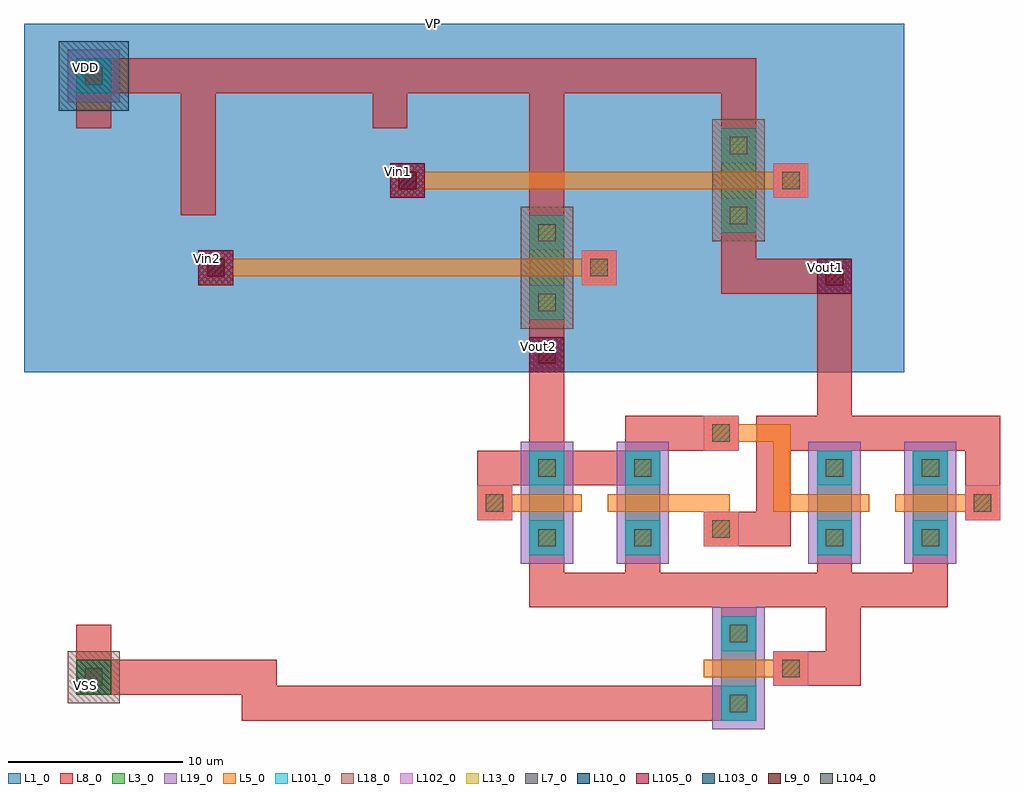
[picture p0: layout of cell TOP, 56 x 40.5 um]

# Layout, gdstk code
from math import pi, radians
import gdstk
lib = gdstk.Library(unit=1e-6, precision=1e-09)
def R(c, l, rs):  # rectangles x0, y0, x1, y1
    for r in rs: c.add(gdstk.rectangle(r[:2], r[2:], *l))
L1_0 = (1, 0)
L3_0 = (3, 0)
L5_0 = (5, 0)
L7_0 = (7, 0)
L8_0 = (8, 0)
L9_0 = (9, 0)
L10_0 = (10, 0)
L13_0 = (13, 0)
L18_0 = (18, 0)
L19_0 = (19, 0)
L101_0 = (101, 0)
L102_0 = (102, 0)
L103_0 = (103, 0)
L104_0 = (104, 0)
L105_0 = (105, 0)

pcont = lib.new_cell('pcont')
R(pcont, L5_0, [(-1,-1,1,1)])
R(pcont, L7_0, [(-0.5,-0.5,0.5,0.5)])
R(pcont, L8_0, [(-1,-1,1,1)])
R(pcont, L13_0, [(-0.5,-0.5,0.5,0.5)])
R(pcont, L102_0, [(-1,-1,1,1)])
pcont.add(gdstk.Label('pcont', (0,0), layer=13, texttype=0))

via = lib.new_cell('Via')
R(via, L8_0, [(-1,-1,1,1)])
R(via, L9_0, [(-0.5,-0.5,0.5,0.5)])
R(via, L10_0, [(-1,-1,1,1)])
R(via, L13_0, [(-0.5,-0.5,0.5,0.5)])
R(via, L105_0, [(-1,-1,1,1)])
via.add(gdstk.Label('via', (0,0), layer=13, texttype=0))

dcont = lib.new_cell('dcont')
R(dcont, L3_0, [(-1,-1,1,1)])
R(dcont, L7_0, [(-0.5,-0.5,0.5,0.5)])
R(dcont, L8_0, [(-1,-1,1,1)])
R(dcont, L13_0, [(-0.5,-0.5,0.5,0.5)])
R(dcont, L101_0, [(-1,-1,1,1)])
dcont.add(gdstk.Label('dcont', (0,0), layer=13, texttype=0))

psubcont = lib.new_cell('psubcont')
R(psubcont, L18_0, [(-1.5,-1.5,1.5,1.5)])
R(psubcont, L104_0, [(-1,-1,1,1)])
psubcont.add(gdstk.Reference(dcont, (0,0)))
psubcont.add(gdstk.Label('PScon', (0,0), layer=13, texttype=0))

nsubcont = lib.new_cell('nsubcont')
R(nsubcont, L1_0, [(-2,-2,2,2)])
R(nsubcont, L19_0, [(-1.5,-1.5,1.5,1.5)])
R(nsubcont, L103_0, [(-2,-2,2,2)])
nsubcont.add(gdstk.Reference(dcont, (0,0)))
nsubcont.add(gdstk.Label('NScont', (0,0), layer=13, texttype=0))

top = lib.new_cell('TOP')
R(top, L1_0, [(-2,62.5,21.5,82.5), (21.5,62.5,31,82.5), (31,62.5,48.5,82.5)])
R(top, L3_0, [(38,42.5,40,48.5), (27,52,29,58), (32.5,52,34.5,58), (43.5,52,45.5,58), (49,52,51,58), (27,65.5,29,71.5), (38,70.5,40,76.5)])
R(top, L18_0, [(26.5,65,29.5,72), (37.5,70,40.5,77)])
R(top, L19_0, [(37.5,42,40.5,49), (26.5,51.5,29.5,58.5), (32,51.5,35,58.5), (43,51.5,46,58.5), (48.5,51.5,51.5,58.5)])
top.add(gdstk.FlexPath([(9,79.5),(19,79.5),(19,76.5)], 2, ends="flush", simple_path=True, layer=8, datatype=0))  # L8_0
top.add(gdstk.FlexPath([(44.5,58),(44.5,68),(39,68),(39,70.5)], 2, ends="flush", simple_path=True, layer=8, datatype=0))  # L8_0
top.add(gdstk.FlexPath([(39,53.5),(41,53.5),(41,59),(44.5,59),(44.5,68),(39,68),(39,70.5)], 2, ends="flush", simple_path=True, layer=8, datatype=0))  # L8_0
top.add(gdstk.FlexPath([(28,52),(28,51),(28,50)], 2, ends="flush", simple_path=True, layer=8, datatype=0))  # L8_0
top.add(gdstk.FlexPath([(33.5,52),(33.5,50)], 2, ends="flush", simple_path=True, layer=8, datatype=0))  # L8_0
top.add(gdstk.FlexPath([(3,45),(9,45)], 2, ends="flush", simple_path=True, layer=8, datatype=0))  # L8_0
top.add(gdstk.FlexPath([(14.5,43.5),(38,43.5)], 2, ends="flush", simple_path=True, layer=8, datatype=0))  # L8_0
top.add(gdstk.FlexPath([(28,65.5),(28,58)], 2, ends="flush", simple_path=True, layer=8, datatype=0))  # L8_0
top.add(gdstk.FlexPath([(20,79.5),(28,79.5),(28,71.5)], 2, ends="flush", simple_path=True, layer=8, datatype=0))  # L8_0
top.add(gdstk.FlexPath([(29,79.5),(39,79.5),(39,76.5)], 2, ends="flush", simple_path=True, layer=8, datatype=0))  # L8_0
top.add(gdstk.FlexPath([(24,57),(32.5,57),(32.5,57)], 2, ends="flush", simple_path=True, layer=8, datatype=0))  # L8_0
top.add(gdstk.FlexPath([(27,50),(40,50),(40,50)], 2, ends="flush", simple_path=True, layer=8, datatype=0))  # L8_0
top.add(gdstk.FlexPath([(45.5,59),(53,59),(53,56)], 2, ends="flush", simple_path=True, layer=8, datatype=0))  # L8_0
top.add(gdstk.FlexPath([(40,50),(51,50)], 2, ends="flush", simple_path=True, layer=8, datatype=0))  # L8_0
top.add(gdstk.FlexPath([(37,59),(32.5,59),(32.5,59)], 2, ends="flush", simple_path=True, layer=8, datatype=0))  # L8_0
top.add(gdstk.FlexPath([(44.5,52),(44.5,50)], 2, ends="flush", simple_path=True, layer=8, datatype=0))  # L8_0
top.add(gdstk.FlexPath([(50,52),(50,50)], 2, ends="flush", simple_path=True, layer=8, datatype=0))  # L8_0
top.add(gdstk.FlexPath([(9,45),(11.5,45),(11.5,43.5),(14.5,43.5)], 2, ends="flush", simple_path=True, layer=8, datatype=0))  # L8_0
top.add(gdstk.FlexPath([(39,50),(39,48)], 2, ends="flush", simple_path=True, layer=8, datatype=0))  # L8_0
top.add(gdstk.FlexPath([(45,49),(45,45.5),(43,45.5)], 2, ends="flush", simple_path=True, layer=8, datatype=0))  # L8_0
top.add(gdstk.FlexPath([(2,78.5),(2,76.5)], 2, ends="flush", simple_path=True, layer=8, datatype=0))  # L8_0
top.add(gdstk.FlexPath([(2,48),(2,46)], 2, ends="flush", simple_path=True, layer=8, datatype=0))  # L8_0
top.add(gdstk.FlexPath([(3,79.5),(8,79.5),(8,71.5)], 2, ends="flush", simple_path=True, layer=8, datatype=0))  # L8_0
top.add(gdstk.FlexPath([(48,55),(52,55)], 1, ends="flush", simple_path=True, layer=5, datatype=0))  # L5_0
top.add(gdstk.FlexPath([(42.5,55),(46.5,55)], 1, ends="flush", simple_path=True, layer=5, datatype=0))  # L5_0
top.add(gdstk.FlexPath([(35.5,55),(38,55),(38,54)], 1, ends="flush", simple_path=True, layer=5, datatype=0))  # L5_0
top.add(gdstk.FlexPath([(38.5,59),(41.5,59),(41.5,55),(42.5,55)], 1, ends="flush", simple_path=True, layer=5, datatype=0))  # L5_0
top.add(gdstk.FlexPath([(10,68.5),(26,68.5)], 1, ends="flush", simple_path=True, layer=5, datatype=0))  # L5_0
top.add(gdstk.FlexPath([(26,68.5),(30,68.5)], 1, ends="flush", simple_path=True, layer=5, datatype=0))  # L5_0
top.add(gdstk.FlexPath([(37,73.5),(41,73.5)], 1, ends="flush", simple_path=True, layer=5, datatype=0))  # L5_0
top.add(gdstk.FlexPath([(21,73.5),(37,73.5)], 1, ends="flush", simple_path=True, layer=5, datatype=0))  # L5_0
top.add(gdstk.FlexPath([(31.5,55),(35.5,55)], 1, ends="flush", simple_path=True, layer=5, datatype=0))  # L5_0
top.add(gdstk.FlexPath([(26,55),(30,55)], 1, ends="flush", simple_path=True, layer=5, datatype=0))  # L5_0
top.add(gdstk.FlexPath([(37,45.5),(41,45.5)], 1, ends="flush", simple_path=True, layer=5, datatype=0))  # L5_0
top.add(gdstk.Reference(pcont, (20,73.5), rotation=pi))
top.add(gdstk.Reference(pcont, (9,68.5), rotation=pi))
top.add(gdstk.Reference(via, (9,68.5), rotation=pi))
top.add(gdstk.Reference(via, (20,73.5), rotation=pi))
top.add(gdstk.Reference(psubcont, (2,45), rotation=pi))
top.add(gdstk.Reference(dcont, (50,53), rotation=pi))
top.add(gdstk.Reference(dcont, (50,57), rotation=pi))
top.add(gdstk.Reference(pcont, (53,55), rotation=pi))
top.add(gdstk.Reference(dcont, (44.5,53), rotation=pi))
top.add(gdstk.Reference(dcont, (44.5,57), rotation=pi))
top.add(gdstk.Reference(nsubcont, (2,79.5), rotation=pi))
top.add(gdstk.Reference(dcont, (39,71.5), rotation=pi))
top.add(gdstk.Reference(via, (28,63.5), rotation=pi))
top.add(gdstk.Reference(dcont, (39,75.5), rotation=pi))
top.add(gdstk.Reference(via, (44.5,68), rotation=pi))
top.add(gdstk.Reference(pcont, (42,73.5), rotation=pi))
top.add(gdstk.Reference(pcont, (38,59), rotation=pi))
top.add(gdstk.Reference(pcont, (31,68.5), rotation=pi))
top.add(gdstk.Reference(dcont, (28,70.5), rotation=pi))
top.add(gdstk.Reference(dcont, (28,66.5), rotation=pi))
top.add(gdstk.Reference(pcont, (38,53.5), rotation=pi))
top.add(gdstk.Reference(dcont, (33.5,53), rotation=pi))
top.add(gdstk.Reference(dcont, (33.5,57), rotation=pi))
top.add(gdstk.Reference(pcont, (25,55), rotation=pi))
top.add(gdstk.Reference(dcont, (28,57), rotation=pi))
top.add(gdstk.Reference(dcont, (28,53), rotation=pi))
top.add(gdstk.Reference(pcont, (42,45.5), rotation=pi))
top.add(gdstk.Reference(dcont, (39,47.5), rotation=pi))
top.add(gdstk.Reference(dcont, (39,43.5), rotation=pi))
top.add(gdstk.Label('VDD', (1.5,80), layer=8, texttype=0))
top.add(gdstk.Label('VSS', (1.5,44.5), layer=8, texttype=0))
top.add(gdstk.Label('VP', (21.5,82.5), layer=1, texttype=0))
top.add(gdstk.Label('Vin1', (19.5,74), layer=10, texttype=0))
top.add(gdstk.Label('Vin2', (8.5,69), layer=10, texttype=0))
top.add(gdstk.Label('Vout1', (44,68.5), layer=10, texttype=0))
top.add(gdstk.Label('Vout2', (27.5,64), layer=10, texttype=0))

lib.write_gds('TOP.gds')
